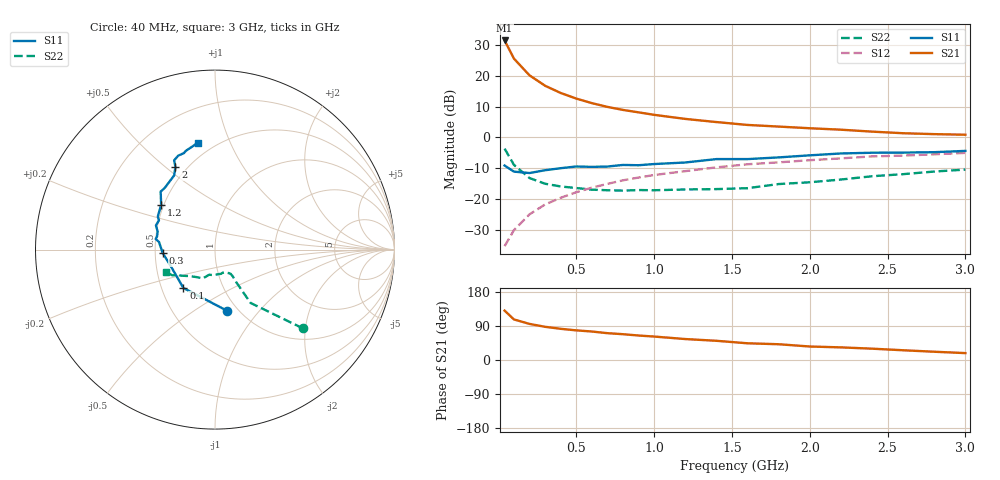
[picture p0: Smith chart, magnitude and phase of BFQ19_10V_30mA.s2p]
! Filename:  BFQ19F.S2P  Version:  2.0
! Philips part #: BFQ19  Date: Jul 1990
! Bias condition: Vce=10V, Ic=30mA
#  MHz  S  MA  R  50
! Freq  S11  S21  S12  S22  !GUM [dB]
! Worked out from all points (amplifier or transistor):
!   21 points, 40 MHz to 3 GHz, reference 50 ohm
!   highest |S21| = 31.5 dB at 40 MHz (marker M1)
!   |S21| within 3 dB of that: start of sweep to 70.46 MHz
!   unconditionally stable (mu >= 1): 189.6 MHz to 1.213 GHz
!   at 300 MHz: K = 1.03, MAG = 18.2 dB, |S12| = -21.8 dB
!   at 1 GHz: K = 1.01, MAG = 9.3 dB, |S12| = -12.3 dB
!   at 3 GHz: K = 0.86, MSG = 3.0 dB, |S12| = -5.1 dB
!   S11 on the Smith chart (normalised r, x): 40 MHz: 0.89, -0.69; 100 MHz: 0.65, -0.30; 300 MHz: 0.55, -0.02; 1.2 GHz: 0.48, +0.28; 2 GHz: 0.44, +0.54; 3 GHz: 0.41, +0.76
40  0.348 -78.7  37.63 130.3  0.017 70.3  0.656 -41.9
100  0.277 -129.5  19.06 107.0  0.031 67.9  0.357 -56.3
200  0.263 -159.5  10.19 95.2  0.056 73.7  0.218 -56.9
300  0.292 -176.2  6.906 87.6  0.081 74.6  0.176 -56.4
400  0.315 172.2  5.271 82.3  0.104 74.4  0.159 -57.4
500  0.336 169.9  4.274 78.2  0.128 74.1  0.15 -60.5
600  0.331 167.1  3.604 75.2  0.152 73.1  0.141 -64.4
700  0.335 162.5  3.129 70.8  0.175 72.3  0.138 -67.2
800  0.356 157.6  2.793 68.1  0.2 71.2  0.136 -71.6
900  0.352 152.4  2.551 64.6  0.222 69.5  0.139 -76.2
1000  0.368 150.0  2.324 61.9  0.244 67.8  0.138 -81.4
1200  0.39 140.3  1.995 55.3  0.282 65.3  0.142 -91.6
1400  0.443 133.1  1.773 50.7  0.325 63.2  0.144 -103.0
1600  0.443 129.4  1.592 44.1  0.365 58.7  0.149 -105.1
1800  0.472 118.8  1.497 41.6  0.392 57.4  0.174 -113.0
2000  0.51 115.6  1.406 35.6  0.425 55.0  0.186 -124.8
2200  0.547 114.6  1.332 33.3  0.455 53.7  0.206 -134.3
2400  0.562 111.4  1.239 29.9  0.49 50.6  0.233 -141.3
2600  0.565 107.8  1.167 25.7  0.505 48.4  0.252 -145.6
2800  0.574 106.4  1.128 21.8  0.53 47.2  0.278 -149.0
3000  0.602 99.2  1.103 18.2  0.559 44.7  0.299 -154.8
